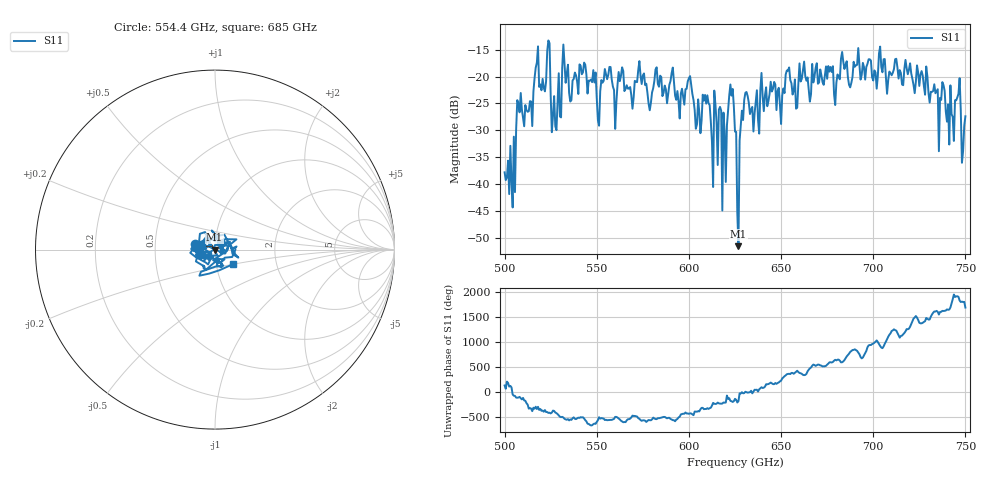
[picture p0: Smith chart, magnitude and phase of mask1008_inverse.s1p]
!Created with skrf (http://scikit-rf.org).
# GHz S MA R 50.0
!freq magS11 angS11
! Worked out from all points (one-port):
!   401 points, 500 GHz to 750 GHz, reference 50 ohm
!   lowest |S11| = -51.6 dB at 626.9 GHz (marker M1), VSWR 1.01, Z = 49.7 + j0.00128 ohm
!   |S11| at or under -10 dB: start of sweep to end of sweep
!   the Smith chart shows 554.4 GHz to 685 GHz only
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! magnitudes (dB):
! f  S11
! 500 GHz  -37.8
! 505 GHz  -31.2
! 507.5 GHz  -25.0
! 513.8 GHz  -24.6
! 516.9 GHz  -18.4
! 523.8 GHz  -13.3
! 526.9 GHz  -23.7
! 531.2 GHz  -18.4
! 542.5 GHz  -19.2
! 551.2 GHz  -29.2
! 562.5 GHz  -20.9
! 578.8 GHz  -26.3
! 590.6 GHz  -19.4
! 593.8 GHz  -22.7
! 608.8 GHz  -23.4
! 619.4 GHz  -30.3
! 623.1 GHz  -23.6
! 625 GHz  -30.3
! 626.9 GHz  -51.6
! 631.2 GHz  -22.9
! 656.2 GHz  -23.4
! 680 GHz  -21.2
! 683.8 GHz  -17.2
! 687.5 GHz  -22.0
! 718.8 GHz  -19.6
! 742.5 GHz  -27.0
! 745.6 GHz  -23.9
! 750 GHz  -27.4
